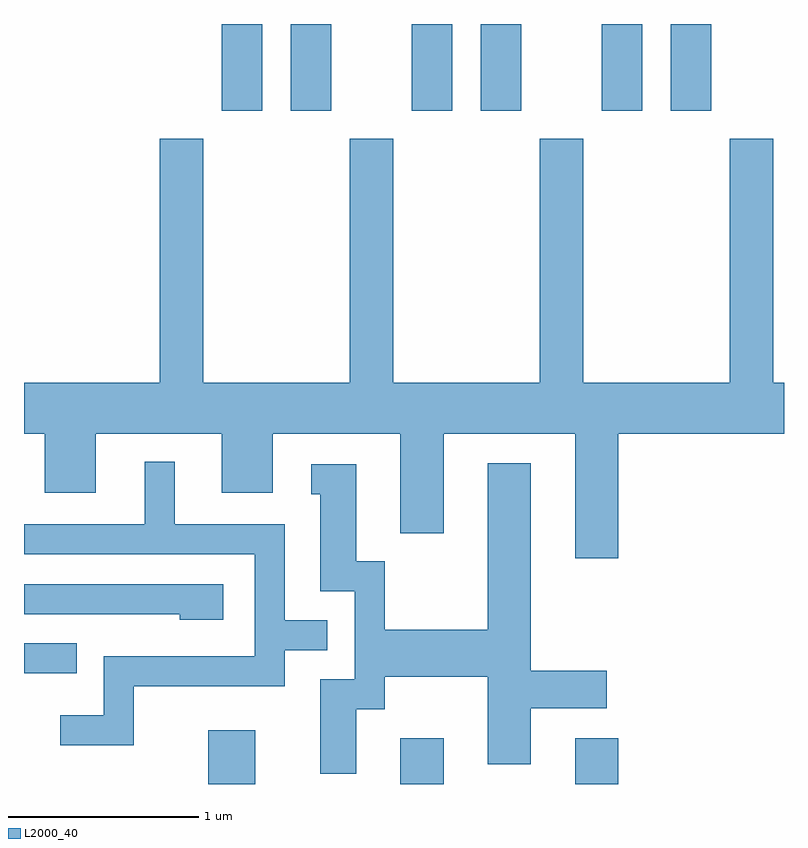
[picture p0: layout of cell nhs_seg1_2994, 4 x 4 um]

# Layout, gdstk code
import gdstk
lib = gdstk.Library(unit=1e-6, precision=1e-09)
def R(c, l, rs):  # rectangles x0, y0, x1, y1
    for r in rs: c.add(gdstk.rectangle(r[:2], r[2:], *l))
def P(c, l, *ps):  # polygons
    for p in ps: c.add(gdstk.Polygon(p, *l))
L2000_40 = (2000, 40)

nhs_seg1_2994 = lib.new_cell('nhs_seg1_2994')
R(nhs_seg1_2994, L2000_40, [(276.581,917.712,276.829,917.994), (277.591,917.712,277.819,917.954), (278.511,917.712,278.739,917.954), (275.611,918.296,275.888,918.454), (276.651,921.256,276.864,921.712), (277.016,921.256,277.229,921.712), (277.651,921.256,277.864,921.712), (278.016,921.256,278.229,921.712), (278.651,921.256,278.864,921.712), (279.016,921.256,279.229,921.712)])
P(nhs_seg1_2994, L2000_40, [(278.739,919.556),(279.611,919.556),(279.611,919.824),(279.554,919.824),(279.554,921.109),(279.326,921.109),(279.326,919.824),(278.554,919.824),(278.554,921.109),(278.326,921.109),(278.326,919.824),(277.554,919.824),(277.554,921.109),(277.326,921.109),(277.326,919.824),(276.554,919.824),(276.554,921.109),(276.326,921.109),(276.326,919.824),(275.611,919.824),(275.611,919.556),(275.721,919.556),(275.721,919.246),(275.989,919.246),(275.989,919.556),(276.651,919.556),(276.651,919.246),(276.919,919.246),(276.919,919.556),(277.591,919.556),(277.591,919.031),(277.819,919.031),(277.819,919.556),(278.511,919.556),(278.511,918.901),(278.739,918.901)],
  [(276.189,918.226),(276.984,918.226),(276.984,918.416),(277.208,918.416),(277.208,918.574),(276.984,918.574),(276.984,919.079),(276.404,919.079),(276.404,919.408),(276.246,919.408),(276.246,919.079),(275.611,919.079),(275.611,918.921),(276.826,918.921),(276.826,918.384),(276.031,918.384),(276.031,918.074),(275.803,918.074),(275.803,917.916),(276.189,917.916)],
  [(277.359,918.106),(277.509,918.106),(277.509,918.276),(278.051,918.276),(278.051,917.816),(278.279,917.816),(278.279,918.111),(278.679,918.111),(278.679,918.309),(278.279,918.309),(278.279,919.399),(278.051,919.399),(278.051,918.524),(277.509,918.524),(277.509,918.884),(277.359,918.884),(277.359,919.394),(277.123,919.394),(277.123,919.236),(277.171,919.236),(277.171,918.726),(277.351,918.726),(277.351,918.264),(277.171,918.264),(277.171,917.766),(277.359,917.766)],
  [(276.659,918.764),(275.611,918.764),(275.611,918.606),(276.431,918.606),(276.431,918.576),(276.659,918.576)])

lib.write_gds('nhs_seg1_2994.gds')
